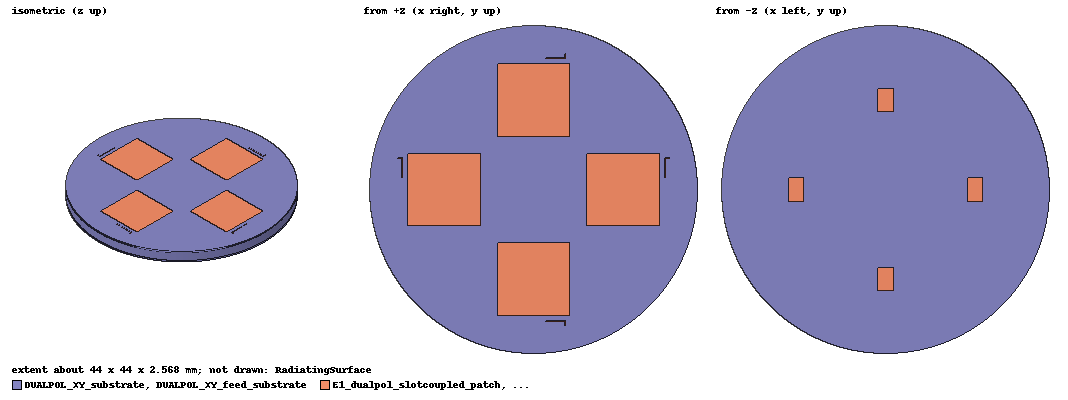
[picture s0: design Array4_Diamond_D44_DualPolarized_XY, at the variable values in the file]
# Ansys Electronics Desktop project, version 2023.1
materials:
  vacuum: permittivity=1
  RO4350B_custom_D44_Topology: permittivity=3.48 permeability=1 dielectric_loss_tangent=0.0037
  copper: permeability=0.999991 conductivity=58000000
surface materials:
  Steel-oxidised-surface

design Array4_Diamond_D44_DualPolarized_XY (HFSS, HFSS Modal Network, model units mm)
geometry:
  DUALPOL_XY_substrate [RO4350B_custom_D44_Topology] = cylinder(axis=Z, base_centre=(0mm, 0mm, 0mm), radius=22mm, height=2mm, segments=128)
  DUALPOL_XY_feed_substrate [RO4350B_custom_D44_Topology] = cylinder(axis=Z, base_centre=(0mm, 0mm, -0.32mm), radius=22mm, height=0.32mm, segments=128)
  DUALPOL_XY_bottom_ground [copper] = circle(normal=Z, centre=(0mm, 0mm, 0mm), radius=21.4mm, segments=128)
  ground_isolation_slot_1 = polyline(z=0mm, xy in mm: (2.4112341, 2.1142493) (9.4823019, 9.1853171) (9.1853171, 9.4823019) (2.1142493, 2.4112341) (2.4112341, 2.1142493), closed, covered)
  ground_isolation_slot_2 = polyline(z=0mm, xy in mm: (-2.1142493, 2.4112341) (-9.1853171, 9.4823019) (-9.4823019, 9.1853171) (-2.4112341, 2.1142493) (-2.1142493, 2.4112341), closed, covered)
  ground_isolation_slot_3 = polyline(z=0mm, xy in mm: (-2.4112341, -2.1142493) (-9.4823019, -9.1853171) (-9.1853171, -9.4823019) (-2.1142493, -2.4112341) (-2.4112341, -2.1142493), closed, covered)
  ground_isolation_slot_4 = polyline(z=0mm, xy in mm: (2.1142493, -2.4112341) (9.1853171, -9.4823019) (9.4823019, -9.1853171) (2.4112341, -2.1142493) (2.1142493, -2.4112341), closed, covered)
  E1_dualpol_slotcoupled_patch [copper] = polyline(z=2mm, xy in mm: (7.1458153, -4.875) (16.895815, -4.875) (16.895815, 4.875) (7.1458153, 4.875) (7.1458153, -4.875), closed, covered)
  E1_slotcoupled_a_aperture = polyline(z=0mm, xy in mm: (11.730815, -2.5) (12.310815, -2.5) (12.310815, 2.5) (11.730815, 2.5) (11.730815, -2.5), closed, covered)
  E1_slotcoupled_b_aperture = polyline(z=0mm, xy in mm: (9.5208153, -0.29) (14.520815, -0.29) (14.520815, 0.29) (9.5208153, 0.29) (9.5208153, -0.29), closed, covered)
  E1_slotcoupled_underfeed_neutralizer [copper] = polyline(z=-0.24mm, xy in mm: (12.400571, 1.9353911) (13.956206, 0.37975613) (14.041059, 0.46460895) (12.485424, 2.0202439) (12.400571, 1.9353911), closed, covered)
  E1_slotcoupled_a_underside_feedline [copper] = polyline(z=-0.3mm, xy in mm: (6.1208153, -0.37) (17.920815, -0.37) (17.920815, 0.37) (6.1208153, 0.37) (6.1208153, -0.37), closed, covered)
  E1_slotcoupled_a_center_resonator [copper] = polyline(z=-0.3mm, xy in mm: (11.170815, -0.65) (12.870815, -0.65) (12.870815, 0.65) (11.170815, 0.65) (11.170815, -0.65), closed, covered)
  E1_slotcoupled_b_underside_feedline_neg [copper] = polyline(z=-0.3mm, xy in mm: (11.650815, -5.9) (12.390815, -5.9) (12.390815, -0.85) (11.650815, -0.85) (11.650815, -5.9), closed, covered)
  E1_slotcoupled_b_underside_feedline_pos [copper] = polyline(z=-0.3mm, xy in mm: (11.650815, 0.85) (12.390815, 0.85) (12.390815, 5.9) (11.650815, 5.9) (11.650815, 0.85), closed, covered)
  E1_slotcoupled_b_center_bridge [copper] = polyline(z=-0.32mm, xy in mm: (10.970815, -1.55) (13.070815, -1.55) (13.070815, 1.55) (10.970815, 1.55) (10.970815, -1.55), closed, covered)
  E1_slotcoupled_b_bridge_via_neg [copper] = polyline(y=-0.85mm, xz in mm: (11.650815, -0.3) (12.390815, -0.3) (12.390815, -0.32) (11.650815, -0.32) (11.650815, -0.3), closed, covered)
  E1_slotcoupled_b_bridge_via_pos [copper] = polyline(y=0.85mm, xz in mm: (11.650815, -0.3) (12.390815, -0.3) (12.390815, -0.32) (11.650815, -0.32) (11.650815, -0.3), closed, covered)
  E1_slotcoupled_a_port_step [copper] = polyline(z=-0.3mm, xy in mm: (16.820815, -0.56) (17.920815, -0.56) (17.920815, 0.56) (16.820815, 0.56) (16.820815, -0.56), closed, covered)
  E1_slotcoupled_b_port_step [copper] = polyline(z=-0.3mm, xy in mm: (11.460815, 4.8) (12.580815, 4.8) (12.580815, 5.9) (11.460815, 5.9) (11.460815, 4.8), closed, covered)
  E1_slotcoupled_a_open_stub [copper] = polyline(z=-0.3mm, xy in mm: (12.845815, 0.34) (13.395815, 0.34) (13.395815, 4.77) (12.845815, 4.77) (12.845815, 0.34), closed, covered)
  E1_slotcoupled_b_open_stub [copper] = polyline(z=-0.3mm, xy in mm: (12.360815, 0.825) (16.790815, 0.825) (16.790815, 1.375) (12.360815, 1.375) (12.360815, 0.825), closed, covered)
  E1_slotcoupled_a_open_stub2 [copper] = polyline(z=-0.3mm, xy in mm: (14.820815, -2.27) (15.220815, -2.27) (15.220815, -0.34) (14.820815, -0.34) (14.820815, -2.27), closed, covered)
  E1_slotcoupled_b_open_stub2 [copper] = polyline(z=-0.3mm, xy in mm: (9.7508153, 2.8) (11.680815, 2.8) (11.680815, 3.2) (9.7508153, 3.2) (9.7508153, 2.8), closed, covered)
  E1_slotcoupled_ab_cancel_a_coupler [copper] = polyline(z=-0.24mm, xy in mm: (13.220815, 0.49) (15.020815, 0.49) (15.020815, 0.61) (13.220815, 0.61) (13.220815, 0.49), closed, covered)
  E1_slotcoupled_ab_cancel_b_coupler [copper] = polyline(z=-0.24mm, xy in mm: (12.630815, 1.2) (12.630815, 3) (12.510815, 3) (12.510815, 1.2) (12.630815, 1.2), closed, covered)
  E1_slotcoupled_ab_cancel_phase_line [copper] = polyline(z=-0.24mm, xy in mm: (13.365668, 0.55) (12.570815, 1.3448528) (12.485962, 1.26) (13.280815, 0.46514719) (13.365668, 0.55), closed, covered)
  E1_slotcoupled_ab_shield_via_1_1 [copper] = cylinder(axis=Z, base_centre=(12.760815mm, 0.74mm, -0.32mm), radius=0.05mm, height=0.29mm, segments=12)
  E1_slotcoupled_ab_shield_via_1_2 [copper] = cylinder(axis=Z, base_centre=(11.280815mm, 0.74mm, -0.32mm), radius=0.05mm, height=0.29mm, segments=12)
  E1_slotcoupled_ab_shield_via_1_3 [copper] = cylinder(axis=Z, base_centre=(11.280815mm, -0.74mm, -0.32mm), radius=0.05mm, height=0.29mm, segments=12)
  E1_slotcoupled_ab_shield_via_1_4 [copper] = cylinder(axis=Z, base_centre=(12.760815mm, -0.74mm, -0.32mm), radius=0.05mm, height=0.29mm, segments=12)
  P1A_lumped_port_sheet = polyline(x=17.920815mm, yz in mm: (-0.25, -0.3) (0.25, -0.3) (0.25, 0) (-0.25, 0) (-0.25, -0.3), closed, covered)
  P1B_switch_off_load_sheet = polyline(y=5.9mm, xz in mm: (11.770815, -0.3) (12.270815, -0.3) (12.270815, 0) (11.770815, 0) (11.770815, -0.3), closed, covered)
  E1_board_edge_fed_monopole_wall [copper] = polyline(x=17.695815mm, yz in mm: (-0.12, 2) (0.12, 2) (0.12, 6.8) (-0.12, 6.8) (-0.12, 2), closed, covered)
  E1_board_edge_fed_l_feed_neck [copper] = polyline(z=2mm, xy in mm: (17.655815, 0) (17.735815, 0) (17.735815, 1.6) (17.655815, 1.6) (17.655815, 0), closed, covered)
  P1L_lumped_port_sheet = polyline(x=17.695815mm, yz in mm: (1.35, 0) (1.85, 0) (1.85, 2) (1.35, 2) (1.35, 0), closed, covered)
  E1_board_edge_fed_l_match_stub [copper] = polyline(z=2mm, xy in mm: (17.625815, 1.6) (17.765815, 1.6) (17.765815, 4.2) (17.625815, 4.2) (17.625815, 1.6), closed, covered)
  E1_board_edge_fed_l_match_fold [copper] = polyline(z=2mm, xy in mm: (17.635815, 4.14) (18.295815, 4.14) (18.295815, 4.26) (17.635815, 4.26) (17.635815, 4.14), closed, covered)
  E2_dualpol_slotcoupled_patch [copper] = polyline(z=2mm, xy in mm: (-4.875, 7.1458153) (4.875, 7.1458153) (4.875, 16.895815) (-4.875, 16.895815) (-4.875, 7.1458153), closed, covered)
  E2_slotcoupled_a_aperture = polyline(z=0mm, xy in mm: (-0.29, 9.5208153) (0.29, 9.5208153) (0.29, 14.520815) (-0.29, 14.520815) (-0.29, 9.5208153), closed, covered)
  E2_slotcoupled_b_aperture = polyline(z=0mm, xy in mm: (-2.5, 11.730815) (2.5, 11.730815) (2.5, 12.310815) (-2.5, 12.310815) (-2.5, 11.730815), closed, covered)
  E2_slotcoupled_underfeed_neutralizer [copper] = polyline(z=-0.24mm, xy in mm: (0.37975613, 13.956206) (1.9353911, 12.400571) (2.0202439, 12.485424) (0.46460895, 14.041059) (0.37975613, 13.956206), closed, covered)
  E2_slotcoupled_a_underside_feedline [copper] = polyline(z=-0.3mm, xy in mm: (-5.9, 11.650815) (5.9, 11.650815) (5.9, 12.390815) (-5.9, 12.390815) (-5.9, 11.650815), closed, covered)
  E2_slotcoupled_a_center_resonator [copper] = polyline(z=-0.3mm, xy in mm: (-0.85, 11.370815) (0.85, 11.370815) (0.85, 12.670815) (-0.85, 12.670815) (-0.85, 11.370815), closed, covered)
  E2_slotcoupled_b_underside_feedline_neg [copper] = polyline(z=-0.3mm, xy in mm: (-0.37, 6.1208153) (0.37, 6.1208153) (0.37, 11.170815) (-0.37, 11.170815) (-0.37, 6.1208153), closed, covered)
  E2_slotcoupled_b_underside_feedline_pos [copper] = polyline(z=-0.3mm, xy in mm: (-0.37, 12.870815) (0.37, 12.870815) (0.37, 17.920815) (-0.37, 17.920815) (-0.37, 12.870815), closed, covered)
  E2_slotcoupled_b_center_bridge [copper] = polyline(z=-0.32mm, xy in mm: (-1.05, 10.470815) (1.05, 10.470815) (1.05, 13.570815) (-1.05, 13.570815) (-1.05, 10.470815), closed, covered)
  E2_slotcoupled_b_bridge_via_neg [copper] = polyline(y=11.170815mm, xz in mm: (-0.37, -0.3) (0.37, -0.3) (0.37, -0.32) (-0.37, -0.32) (-0.37, -0.3), closed, covered)
  E2_slotcoupled_b_bridge_via_pos [copper] = polyline(y=12.870815mm, xz in mm: (-0.37, -0.3) (0.37, -0.3) (0.37, -0.32) (-0.37, -0.32) (-0.37, -0.3), closed, covered)
  E2_slotcoupled_a_port_step [copper] = polyline(z=-0.3mm, xy in mm: (4.8, 11.460815) (5.9, 11.460815) (5.9, 12.580815) (4.8, 12.580815) (4.8, 11.460815), closed, covered)
  E2_slotcoupled_b_port_step [copper] = polyline(z=-0.3mm, xy in mm: (-0.56, 16.820815) (0.56, 16.820815) (0.56, 17.920815) (-0.56, 17.920815) (-0.56, 16.820815), closed, covered)
  E2_slotcoupled_a_open_stub [copper] = polyline(z=-0.3mm, xy in mm: (0.825, 12.360815) (1.375, 12.360815) (1.375, 16.790815) (0.825, 16.790815) (0.825, 12.360815), closed, covered)
  E2_slotcoupled_b_open_stub [copper] = polyline(z=-0.3mm, xy in mm: (0.34, 12.845815) (4.77, 12.845815) (4.77, 13.395815) (0.34, 13.395815) (0.34, 12.845815), closed, covered)
  E2_slotcoupled_a_open_stub2 [copper] = polyline(z=-0.3mm, xy in mm: (2.8, 9.7508153) (3.2, 9.7508153) (3.2, 11.680815) (2.8, 11.680815) (2.8, 9.7508153), closed, covered)
  E2_slotcoupled_b_open_stub2 [copper] = polyline(z=-0.3mm, xy in mm: (-2.27, 14.820815) (-0.34, 14.820815) (-0.34, 15.220815) (-2.27, 15.220815) (-2.27, 14.820815), closed, covered)
  E2_slotcoupled_ab_cancel_a_coupler [copper] = polyline(z=-0.24mm, xy in mm: (1.2, 12.510815) (3, 12.510815) (3, 12.630815) (1.2, 12.630815) (1.2, 12.510815), closed, covered)
  E2_slotcoupled_ab_cancel_b_coupler [copper] = polyline(z=-0.24mm, xy in mm: (0.61, 13.220815) (0.61, 15.020815) (0.49, 15.020815) (0.49, 13.220815) (0.61, 13.220815), closed, covered)
  E2_slotcoupled_ab_cancel_phase_line [copper] = polyline(z=-0.24mm, xy in mm: (1.3448528, 12.570815) (0.55, 13.365668) (0.46514719, 13.280815) (1.26, 12.485962) (1.3448528, 12.570815), closed, covered)
  E2_slotcoupled_ab_shield_via_1_1 [copper] = cylinder(axis=Z, base_centre=(0.74mm, 12.760815mm, -0.32mm), radius=0.05mm, height=0.29mm, segments=12)
  E2_slotcoupled_ab_shield_via_1_2 [copper] = cylinder(axis=Z, base_centre=(-0.74mm, 12.760815mm, -0.32mm), radius=0.05mm, height=0.29mm, segments=12)
  E2_slotcoupled_ab_shield_via_1_3 [copper] = cylinder(axis=Z, base_centre=(-0.74mm, 11.280815mm, -0.32mm), radius=0.05mm, height=0.29mm, segments=12)
  E2_slotcoupled_ab_shield_via_1_4 [copper] = cylinder(axis=Z, base_centre=(0.74mm, 11.280815mm, -0.32mm), radius=0.05mm, height=0.29mm, segments=12)
  P2A_lumped_port_sheet = polyline(x=5.9mm, yz in mm: (11.770815, -0.3) (12.270815, -0.3) (12.270815, 0) (11.770815, 0) (11.770815, -0.3), closed, covered)
  P2B_switch_off_load_sheet = polyline(y=17.920815mm, xz in mm: (-0.25, -0.3) (0.25, -0.3) (0.25, 0) (-0.25, 0) (-0.25, -0.3), closed, covered)
  E2_board_edge_fed_monopole_wall [copper] = polyline(y=17.695815mm, xz in mm: (-0.12, 2) (0.12, 2) (0.12, 6.8) (-0.12, 6.8) (-0.12, 2), closed, covered)
  E2_board_edge_fed_l_feed_neck [copper] = polyline(z=2mm, xy in mm: (7.3606265e-16, 17.655815) (1.6, 17.655815) (1.6, 17.735815) (7.3606265e-16, 17.735815) (7.3606265e-16, 17.655815), closed, covered)
  P2L_lumped_port_sheet = polyline(y=17.695815mm, xz in mm: (1.35, 0) (1.85, 0) (1.85, 2) (1.35, 2) (1.35, 0), closed, covered)
  E2_board_edge_fed_l_match_stub [copper] = polyline(z=2mm, xy in mm: (1.6, 17.625815) (4.2, 17.625815) (4.2, 17.765815) (1.6, 17.765815) (1.6, 17.625815), closed, covered)
  E2_board_edge_fed_l_match_fold [copper] = polyline(z=2mm, xy in mm: (4.14, 17.635815) (4.26, 17.635815) (4.26, 18.295815) (4.14, 18.295815) (4.14, 17.635815), closed, covered)
  E3_dualpol_slotcoupled_patch [copper] = polyline(z=2mm, xy in mm: (-16.895815, -4.875) (-7.1458153, -4.875) (-7.1458153, 4.875) (-16.895815, 4.875) (-16.895815, -4.875), closed, covered)
  E3_slotcoupled_a_aperture = polyline(z=0mm, xy in mm: (-12.310815, -2.5) (-11.730815, -2.5) (-11.730815, 2.5) (-12.310815, 2.5) (-12.310815, -2.5), closed, covered)
  E3_slotcoupled_b_aperture = polyline(z=0mm, xy in mm: (-14.520815, -0.29) (-9.5208153, -0.29) (-9.5208153, 0.29) (-14.520815, 0.29) (-14.520815, -0.29), closed, covered)
  E3_slotcoupled_underfeed_neutralizer [copper] = polyline(z=-0.24mm, xy in mm: (-13.956206, 0.37975613) (-12.400571, 1.9353911) (-12.485424, 2.0202439) (-14.041059, 0.46460895) (-13.956206, 0.37975613), closed, covered)
  E3_slotcoupled_a_underside_feedline [copper] = polyline(z=-0.3mm, xy in mm: (-17.920815, -0.37) (-6.1208153, -0.37) (-6.1208153, 0.37) (-17.920815, 0.37) (-17.920815, -0.37), closed, covered)
  E3_slotcoupled_a_center_resonator [copper] = polyline(z=-0.3mm, xy in mm: (-12.870815, -0.65) (-11.170815, -0.65) (-11.170815, 0.65) (-12.870815, 0.65) (-12.870815, -0.65), closed, covered)
  E3_slotcoupled_b_underside_feedline_neg [copper] = polyline(z=-0.3mm, xy in mm: (-12.390815, -5.9) (-11.650815, -5.9) (-11.650815, -0.85) (-12.390815, -0.85) (-12.390815, -5.9), closed, covered)
  E3_slotcoupled_b_underside_feedline_pos [copper] = polyline(z=-0.3mm, xy in mm: (-12.390815, 0.85) (-11.650815, 0.85) (-11.650815, 5.9) (-12.390815, 5.9) (-12.390815, 0.85), closed, covered)
  E3_slotcoupled_b_center_bridge [copper] = polyline(z=-0.32mm, xy in mm: (-13.070815, -1.55) (-10.970815, -1.55) (-10.970815, 1.55) (-13.070815, 1.55) (-13.070815, -1.55), closed, covered)
  E3_slotcoupled_b_bridge_via_neg [copper] = polyline(y=-0.85mm, xz in mm: (-12.390815, -0.3) (-11.650815, -0.3) (-11.650815, -0.32) (-12.390815, -0.32) (-12.390815, -0.3), closed, covered)
  E3_slotcoupled_b_bridge_via_pos [copper] = polyline(y=0.85mm, xz in mm: (-12.390815, -0.3) (-11.650815, -0.3) (-11.650815, -0.32) (-12.390815, -0.32) (-12.390815, -0.3), closed, covered)
  E3_slotcoupled_a_port_step [copper] = polyline(z=-0.3mm, xy in mm: (-17.920815, -0.56) (-16.820815, -0.56) (-16.820815, 0.56) (-17.920815, 0.56) (-17.920815, -0.56), closed, covered)
  E3_slotcoupled_b_port_step [copper] = polyline(z=-0.3mm, xy in mm: (-12.580815, 4.8) (-11.460815, 4.8) (-11.460815, 5.9) (-12.580815, 5.9) (-12.580815, 4.8), closed, covered)
  E3_slotcoupled_a_open_stub [copper] = polyline(z=-0.3mm, xy in mm: (-13.395815, 0.34) (-12.845815, 0.34) (-12.845815, 4.77) (-13.395815, 4.77) (-13.395815, 0.34), closed, covered)
  E3_slotcoupled_b_open_stub [copper] = polyline(z=-0.3mm, xy in mm: (-11.680815, 0.825) (-7.2508153, 0.825) (-7.2508153, 1.375) (-11.680815, 1.375) (-11.680815, 0.825), closed, covered)
  E3_slotcoupled_a_open_stub2 [copper] = polyline(z=-0.3mm, xy in mm: (-15.220815, -2.27) (-14.820815, -2.27) (-14.820815, -0.34) (-15.220815, -0.34) (-15.220815, -2.27), closed, covered)
  E3_slotcoupled_b_open_stub2 [copper] = polyline(z=-0.3mm, xy in mm: (-14.290815, 2.8) (-12.360815, 2.8) (-12.360815, 3.2) (-14.290815, 3.2) (-14.290815, 2.8), closed, covered)
  E3_slotcoupled_ab_cancel_a_coupler [copper] = polyline(z=-0.24mm, xy in mm: (-15.020815, 0.49) (-13.220815, 0.49) (-13.220815, 0.61) (-15.020815, 0.61) (-15.020815, 0.49), closed, covered)
  E3_slotcoupled_ab_cancel_b_coupler [copper] = polyline(z=-0.24mm, xy in mm: (-12.510815, 1.2) (-12.510815, 3) (-12.630815, 3) (-12.630815, 1.2) (-12.510815, 1.2), closed, covered)
  E3_slotcoupled_ab_cancel_phase_line [copper] = polyline(z=-0.24mm, xy in mm: (-13.280815, 0.46514719) (-12.485962, 1.26) (-12.570815, 1.3448528) (-13.365668, 0.55) (-13.280815, 0.46514719), closed, covered)
  E3_slotcoupled_ab_shield_via_1_1 [copper] = cylinder(axis=Z, base_centre=(-11.280815mm, 0.74mm, -0.32mm), radius=0.05mm, height=0.29mm, segments=12)
  E3_slotcoupled_ab_shield_via_1_2 [copper] = cylinder(axis=Z, base_centre=(-12.760815mm, 0.74mm, -0.32mm), radius=0.05mm, height=0.29mm, segments=12)
  E3_slotcoupled_ab_shield_via_1_3 [copper] = cylinder(axis=Z, base_centre=(-12.760815mm, -0.74mm, -0.32mm), radius=0.05mm, height=0.29mm, segments=12)
  E3_slotcoupled_ab_shield_via_1_4 [copper] = cylinder(axis=Z, base_centre=(-11.280815mm, -0.74mm, -0.32mm), radius=0.05mm, height=0.29mm, segments=12)
  P3A_lumped_port_sheet = polyline(x=-17.920815mm, yz in mm: (-0.25, -0.3) (0.25, -0.3) (0.25, 0) (-0.25, 0) (-0.25, -0.3), closed, covered)
  P3B_switch_off_load_sheet = polyline(y=5.9mm, xz in mm: (-12.270815, -0.3) (-11.770815, -0.3) (-11.770815, 0) (-12.270815, 0) (-12.270815, -0.3), closed, covered)
  E3_board_edge_fed_monopole_wall [copper] = polyline(x=-17.695815mm, yz in mm: (-0.12, 2) (0.12, 2) (0.12, 6.8) (-0.12, 6.8) (-0.12, 2), closed, covered)
  E3_board_edge_fed_l_feed_neck [copper] = polyline(z=2mm, xy in mm: (-17.735815, 1.4721253e-15) (-17.655815, 1.4721253e-15) (-17.655815, 1.6) (-17.735815, 1.6) (-17.735815, 1.4721253e-15), closed, covered)
  P3L_lumped_port_sheet = polyline(x=-17.695815mm, yz in mm: (1.35, 0) (1.85, 0) (1.85, 2) (1.35, 2) (1.35, 0), closed, covered)
  E3_board_edge_fed_l_match_stub [copper] = polyline(z=2mm, xy in mm: (-17.765815, 1.6) (-17.625815, 1.6) (-17.625815, 4.2) (-17.765815, 4.2) (-17.765815, 1.6), closed, covered)
  E3_board_edge_fed_l_match_fold [copper] = polyline(z=2mm, xy in mm: (-18.295815, 4.14) (-17.635815, 4.14) (-17.635815, 4.26) (-18.295815, 4.26) (-18.295815, 4.14), closed, covered)
  E4_dualpol_slotcoupled_patch [copper] = polyline(z=2mm, xy in mm: (-4.875, -16.895815) (4.875, -16.895815) (4.875, -7.1458153) (-4.875, -7.1458153) (-4.875, -16.895815), closed, covered)
  E4_slotcoupled_a_aperture = polyline(z=0mm, xy in mm: (-0.29, -14.520815) (0.29, -14.520815) (0.29, -9.5208153) (-0.29, -9.5208153) (-0.29, -14.520815), closed, covered)
  E4_slotcoupled_b_aperture = polyline(z=0mm, xy in mm: (-2.5, -12.310815) (2.5, -12.310815) (2.5, -11.730815) (-2.5, -11.730815) (-2.5, -12.310815), closed, covered)
  E4_slotcoupled_underfeed_neutralizer [copper] = polyline(z=-0.24mm, xy in mm: (0.46460895, -14.041059) (2.0202439, -12.485424) (1.9353911, -12.400571) (0.37975613, -13.956206) (0.46460895, -14.041059), closed, covered)
  E4_slotcoupled_a_underside_feedline [copper] = polyline(z=-0.3mm, xy in mm: (-5.9, -12.390815) (5.9, -12.390815) (5.9, -11.650815) (-5.9, -11.650815) (-5.9, -12.390815), closed, covered)
  E4_slotcoupled_a_center_resonator [copper] = polyline(z=-0.3mm, xy in mm: (-0.85, -12.670815) (0.85, -12.670815) (0.85, -11.370815) (-0.85, -11.370815) (-0.85, -12.670815), closed, covered)
  E4_slotcoupled_b_underside_feedline_neg [copper] = polyline(z=-0.3mm, xy in mm: (-0.37, -17.920815) (0.37, -17.920815) (0.37, -12.870815) (-0.37, -12.870815) (-0.37, -17.920815), closed, covered)
  E4_slotcoupled_b_underside_feedline_pos [copper] = polyline(z=-0.3mm, xy in mm: (-0.37, -11.170815) (0.37, -11.170815) (0.37, -6.1208153) (-0.37, -6.1208153) (-0.37, -11.170815), closed, covered)
  E4_slotcoupled_b_center_bridge [copper] = polyline(z=-0.32mm, xy in mm: (-1.05, -13.570815) (1.05, -13.570815) (1.05, -10.470815) (-1.05, -10.470815) (-1.05, -13.570815), closed, covered)
  E4_slotcoupled_b_bridge_via_neg [copper] = polyline(y=-12.870815mm, xz in mm: (-0.37, -0.3) (0.37, -0.3) (0.37, -0.32) (-0.37, -0.32) (-0.37, -0.3), closed, covered)
  E4_slotcoupled_b_bridge_via_pos [copper] = polyline(y=-11.170815mm, xz in mm: (-0.37, -0.3) (0.37, -0.3) (0.37, -0.32) (-0.37, -0.32) (-0.37, -0.3), closed, covered)
  E4_slotcoupled_a_port_step [copper] = polyline(z=-0.3mm, xy in mm: (4.8, -12.580815) (5.9, -12.580815) (5.9, -11.460815) (4.8, -11.460815) (4.8, -12.580815), closed, covered)
  E4_slotcoupled_b_port_step [copper] = polyline(z=-0.3mm, xy in mm: (-0.56, -17.920815) (0.56, -17.920815) (0.56, -16.820815) (-0.56, -16.820815) (-0.56, -17.920815), closed, covered)
  E4_slotcoupled_a_open_stub [copper] = polyline(z=-0.3mm, xy in mm: (0.825, -11.680815) (1.375, -11.680815) (1.375, -7.2508153) (0.825, -7.2508153) (0.825, -11.680815), closed, covered)
  E4_slotcoupled_b_open_stub [copper] = polyline(z=-0.3mm, xy in mm: (0.34, -13.395815) (4.77, -13.395815) (4.77, -12.845815) (0.34, -12.845815) (0.34, -13.395815), closed, covered)
  E4_slotcoupled_a_open_stub2 [copper] = polyline(z=-0.3mm, xy in mm: (2.8, -14.290815) (3.2, -14.290815) (3.2, -12.360815) (2.8, -12.360815) (2.8, -14.290815), closed, covered)
  E4_slotcoupled_b_open_stub2 [copper] = polyline(z=-0.3mm, xy in mm: (-2.27, -15.220815) (-0.34, -15.220815) (-0.34, -14.820815) (-2.27, -14.820815) (-2.27, -15.220815), closed, covered)
  E4_slotcoupled_ab_cancel_a_coupler [copper] = polyline(z=-0.24mm, xy in mm: (1.2, -12.630815) (3, -12.630815) (3, -12.510815) (1.2, -12.510815) (1.2, -12.630815), closed, covered)
  E4_slotcoupled_ab_cancel_b_coupler [copper] = polyline(z=-0.24mm, xy in mm: (0.61, -15.020815) (0.61, -13.220815) (0.49, -13.220815) (0.49, -15.020815) (0.61, -15.020815), closed, covered)
  E4_slotcoupled_ab_cancel_phase_line [copper] = polyline(z=-0.24mm, xy in mm: (1.26, -12.485962) (0.46514719, -13.280815) (0.55, -13.365668) (1.3448528, -12.570815) (1.26, -12.485962), closed, covered)
  E4_slotcoupled_ab_shield_via_1_1 [copper] = cylinder(axis=Z, base_centre=(0.74mm, -11.280815mm, -0.32mm), radius=0.05mm, height=0.29mm, segments=12)
  E4_slotcoupled_ab_shield_via_1_2 [copper] = cylinder(axis=Z, base_centre=(-0.74mm, -11.280815mm, -0.32mm), radius=0.05mm, height=0.29mm, segments=12)
  E4_slotcoupled_ab_shield_via_1_3 [copper] = cylinder(axis=Z, base_centre=(-0.74mm, -12.760815mm, -0.32mm), radius=0.05mm, height=0.29mm, segments=12)
  E4_slotcoupled_ab_shield_via_1_4 [copper] = cylinder(axis=Z, base_centre=(0.74mm, -12.760815mm, -0.32mm), radius=0.05mm, height=0.29mm, segments=12)
  P4A_lumped_port_sheet = polyline(x=5.9mm, yz in mm: (-12.270815, -0.3) (-11.770815, -0.3) (-11.770815, 0) (-12.270815, 0) (-12.270815, -0.3), closed, covered)
  P4B_switch_off_load_sheet = polyline(y=-17.920815mm, xz in mm: (-0.25, -0.3) (0.25, -0.3) (0.25, 0) (-0.25, 0) (-0.25, -0.3), closed, covered)
  E4_board_edge_fed_monopole_wall [copper] = polyline(y=-17.695815mm, xz in mm: (-0.12, 2) (0.12, 2) (0.12, 6.8) (-0.12, 6.8) (-0.12, 2), closed, covered)
  E4_board_edge_fed_l_feed_neck [copper] = polyline(z=2mm, xy in mm: (-2.2081879e-15, -17.735815) (1.6, -17.735815) (1.6, -17.655815) (-2.2081879e-15, -17.655815) (-2.2081879e-15, -17.735815), closed, covered)
  P4L_lumped_port_sheet = polyline(y=-17.695815mm, xz in mm: (1.35, 0) (1.85, 0) (1.85, 2) (1.35, 2) (1.35, 0), closed, covered)
  E4_board_edge_fed_l_match_stub [copper] = polyline(z=2mm, xy in mm: (1.6, -17.765815) (4.2, -17.765815) (4.2, -17.625815) (1.6, -17.625815) (1.6, -17.765815), closed, covered)
  E4_board_edge_fed_l_match_fold [copper] = polyline(z=2mm, xy in mm: (4.14, -18.295815) (4.26, -18.295815) (4.26, -17.635815) (4.14, -17.635815) (4.14, -18.295815), closed, covered)
  DUALPOL_XY_bottom_ground.subtract(ground_isolation_slot_1..ground_isolation_slot_4, E1_slotcoupled_a_aperture, E1_slotcoupled_b_aperture, E2_slotcoupled_a_aperture, E2_slotcoupled_b_aperture, E3_slotcoupled_a_aperture, E3_slotcoupled_b_aperture, E4_slotcoupled_a_aperture, E4_slotcoupled_b_aperture)
  RadiatingSurface [vacuum] = region(absolute_offset=14.285714mm on all sides)
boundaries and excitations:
  P1B_switch_off_load: Lumped RLC Objects=P1B_switch_off_load_sheet CurrentLine{(12.020815, 5.9, 0) -> (12.020815, 5.9, -0.3)} RLC_Type=Parallel Resistance=50ohm Capacitance=8e-14f
  P2B_switch_off_load: Lumped RLC Objects=P2B_switch_off_load_sheet CurrentLine{(0, 17.920815, 0) -> (0, 17.920815, -0.3)} RLC_Type=Parallel Resistance=50ohm Capacitance=8e-14f
  P3B_switch_off_load: Lumped RLC Objects=P3B_switch_off_load_sheet CurrentLine{(-12.020815, 5.9, 0) -> (-12.020815, 5.9, -0.3)} RLC_Type=Parallel Resistance=50ohm Capacitance=8e-14f
  P4B_switch_off_load: Lumped RLC Objects=P4B_switch_off_load_sheet CurrentLine{(0, -17.920815, 0) -> (0, -17.920815, -0.3)} RLC_Type=Parallel Resistance=50ohm Capacitance=8e-14f
  DUALPOL_XY_PEC_metallization: Perfect E Objects=[DUALPOL_XY_bottom_ground, E1_dualpol_slotcoupled_patch, E1_slotcoupled_underfeed_neutralizer, E1_slotcoupled_a_underside_feedline, E1_slotcoupled_a_center_resonator, E1_slotcoupled_b_underside_feedline_neg, E1_slotcoupled_b_underside_feedline_pos, E1_slotcoupled_b_center_bridge, E1_slotcoupled_b_bridge_via_neg, E1_slotcoupled_b_bridge_via_pos, E1_slotcoupled_a_port_step, E1_slotcoupled_b_port_step, E1_slotcoupled_a_open_stub, E1_slotcoupled_b_open_stub, E1_slotcoupled_a_open_stub2, E1_slotcoupled_b_open_stub2, E1_slotcoupled_ab_cancel_a_coupler, E1_slotcoupled_ab_cancel_b_coupler, E1_slotcoupled_ab_cancel_phase_line, E1_board_edge_fed_monopole_wall, E1_board_edge_fed_l_feed_neck, E1_board_edge_fed_l_match_stub, E1_board_edge_fed_l_match_fold, E2_dualpol_slotcoupled_patch, E2_slotcoupled_underfeed_neutralizer, E2_slotcoupled_a_underside_feedline, E2_slotcoupled_a_center_resonator, E2_slotcoupled_b_underside_feedline_neg, E2_slotcoupled_b_underside_feedline_pos, E2_slotcoupled_b_center_bridge, E2_slotcoupled_b_bridge_via_neg, E2_slotcoupled_b_bridge_via_pos, E2_slotcoupled_a_port_step, E2_slotcoupled_b_port_step, E2_slotcoupled_a_open_stub, E2_slotcoupled_b_open_stub, E2_slotcoupled_a_open_stub2, E2_slotcoupled_b_open_stub2, E2_slotcoupled_ab_cancel_a_coupler, E2_slotcoupled_ab_cancel_b_coupler, E2_slotcoupled_ab_cancel_phase_line, E2_board_edge_fed_monopole_wall, E2_board_edge_fed_l_feed_neck, E2_board_edge_fed_l_match_stub, E2_board_edge_fed_l_match_fold, E3_dualpol_slotcoupled_patch, E3_slotcoupled_underfeed_neutralizer, E3_slotcoupled_a_underside_feedline, E3_slotcoupled_a_center_resonator, E3_slotcoupled_b_underside_feedline_neg, E3_slotcoupled_b_underside_feedline_pos, E3_slotcoupled_b_center_bridge, E3_slotcoupled_b_bridge_via_neg, E3_slotcoupled_b_bridge_via_pos, E3_slotcoupled_a_port_step, E3_slotcoupled_b_port_step, E3_slotcoupled_a_open_stub, E3_slotcoupled_b_open_stub, E3_slotcoupled_a_open_stub2, E3_slotcoupled_b_open_stub2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]
  Open1: Radiation Objects=RadiatingSurface
  P1A: Lumped Port Objects=P1A_lumped_port_sheet LumpedPortType=Modal Modes{Mode1{IntLine{(17.920815, 0, 0) -> (17.920815, 0, -0.3)} CharImp=Zpi RenormImp=50ohm}} Impedance=50ohm
  P1L: Lumped Port Objects=P1L_lumped_port_sheet LumpedPortType=Modal Modes{Mode1{IntLine{(17.695815, 1.6, 2) -> (17.695815, 1.6, 0)} CharImp=Zpi RenormImp=50ohm}} Impedance=50ohm
  P2A: Lumped Port Objects=P2A_lumped_port_sheet LumpedPortType=Modal Modes{Mode1{IntLine{(5.9, 12.020815, 0) -> (5.9, 12.020815, -0.3)} CharImp=Zpi RenormImp=50ohm}} Impedance=50ohm
  P2L: Lumped Port Objects=P2L_lumped_port_sheet LumpedPortType=Modal Modes{Mode1{IntLine{(1.6, 17.695815, 2) -> (1.6, 17.695815, 0)} CharImp=Zpi RenormImp=50ohm}} Impedance=50ohm
  P3A: Lumped Port Objects=P3A_lumped_port_sheet LumpedPortType=Modal Modes{Mode1{IntLine{(-17.920815, 0, 0) -> (-17.920815, 0, -0.3)} CharImp=Zpi RenormImp=50ohm}} Impedance=50ohm
  P3L: Lumped Port Objects=P3L_lumped_port_sheet LumpedPortType=Modal Modes{Mode1{IntLine{(-17.695815, 1.6, 2) -> (-17.695815, 1.6, 0)} CharImp=Zpi RenormImp=50ohm}} Impedance=50ohm
  P4A: Lumped Port Objects=P4A_lumped_port_sheet LumpedPortType=Modal Modes{Mode1{IntLine{(5.9, -12.020815, 0) -> (5.9, -12.020815, -0.3)} CharImp=Zpi RenormImp=50ohm}} Impedance=50ohm
  P4L: Lumped Port Objects=P4L_lumped_port_sheet LumpedPortType=Modal Modes{Mode1{IntLine{(1.6, -17.695815, 2) -> (1.6, -17.695815, 0)} CharImp=Zpi RenormImp=50ohm}} Impedance=50ohm
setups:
  Setup_CH9: HfssDriven Frequency=8GHz MaxDeltaS=0.05 MaximumPasses=4 MinimumPasses=1 MinimumConvergedPasses=1 PercentRefinement=30 BasisOrder=1 PortAccuracy=2 DrivenSolverType="Direct Solver"
    sweep Sweep_CH9: point 8GHz; SaveSingleField Type=Discrete SaveFields SaveRadFields
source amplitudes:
  P1A:1: 1W 0deg
  P1L:1, P2A:1, P2L:1, P3A:1, P3L:1, P4A:1, P4L:1: 0W 0deg
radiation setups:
  3D: Infinite Sphere Theta=0deg..180deg step 2deg Phi=-180deg..180deg step 2deg
  Elevation: Infinite Sphere Theta=-180deg..180deg step 1deg Phi=0deg..90deg step 90deg
  Azimuth: Infinite Sphere Theta=90deg..90deg step 0deg Phi=-180deg..180deg step 1deg
  Upper_Hemisphere_5deg: Infinite Sphere Theta=0deg..360deg step 5deg Phi=0deg..90deg step 5deg
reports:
  DUALPOL_XY_S_Parameters: dB(S(P1A:1,P1A:1)), dB(S(P4A:1,P4A:1)), dB(S(P2A:1,P2A:1)), dB(S(P4L:1,P4L:1)), dB(S(P2L:1,P2L:1)), dB(S(P3A:1,P3A:1)), dB(S(P1L:1,P1L:1)), dB(S(P3L:1,P3L:1)), dB(S(P1A:1,P4A:1)), dB(S(P1A:1,P2A:1)), dB(S(P1A:1,P4L:1)), dB(S(P1A:1,P2L:1)), dB(S(P1A:1,P3A:1)), dB(S(P1A:1,P1L:1)), dB(S(P1A:1,P3L:1)), dB(S(P4A:1,P1A:1)), dB(S(P4A:1,P2A:1)), dB(S(P4A:1,P4L:1)), dB(S(P4A:1,P2L:1)), dB(S(P4A:1,P3A:1)), dB(S(P4A:1,P1L:1)), dB(S(P4A:1,P3L:1)), dB(S(P2A:1,P1A:1)), dB(S(P2A:1,P4A:1)), dB(S(P2A:1,P4L:1)), dB(S(P2A:1,P2L:1)), dB(S(P2A:1,P3A:1)), dB(S(P2A:1,P1L:1)), dB(S(P2A:1,P3L:1)), dB(S(P4L:1,P1A:1)), dB(S(P4L:1,P4A:1)), dB(S(P4L:1,P2A:1)), dB(S(P4L:1,P2L:1)), dB(S(P4L:1,P3A:1)), dB(S(P4L:1,P1L:1)), dB(S(P4L:1,P3L:1)), dB(S(P2L:1,P1A:1)), dB(S(P2L:1,P4A:1)), dB(S(P2L:1,P2A:1)), dB(S(P2L:1,P4L:1))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 vs Freq on Setup_CH9 : Sweep_CH9
  DUALPOL_XY_GainTotal_8GHz: dB(GainTotal) vs Phi, Theta on Setup_CH9 : Sweep_CH9, Upper_Hemisphere_5deg [Freq=8GHz]
  DUALPOL_XY_AxialRatio_8GHz: AxialRatioValue vs Phi, Theta on Setup_CH9 : Sweep_CH9, Upper_Hemisphere_5deg [Freq=8GHz]
